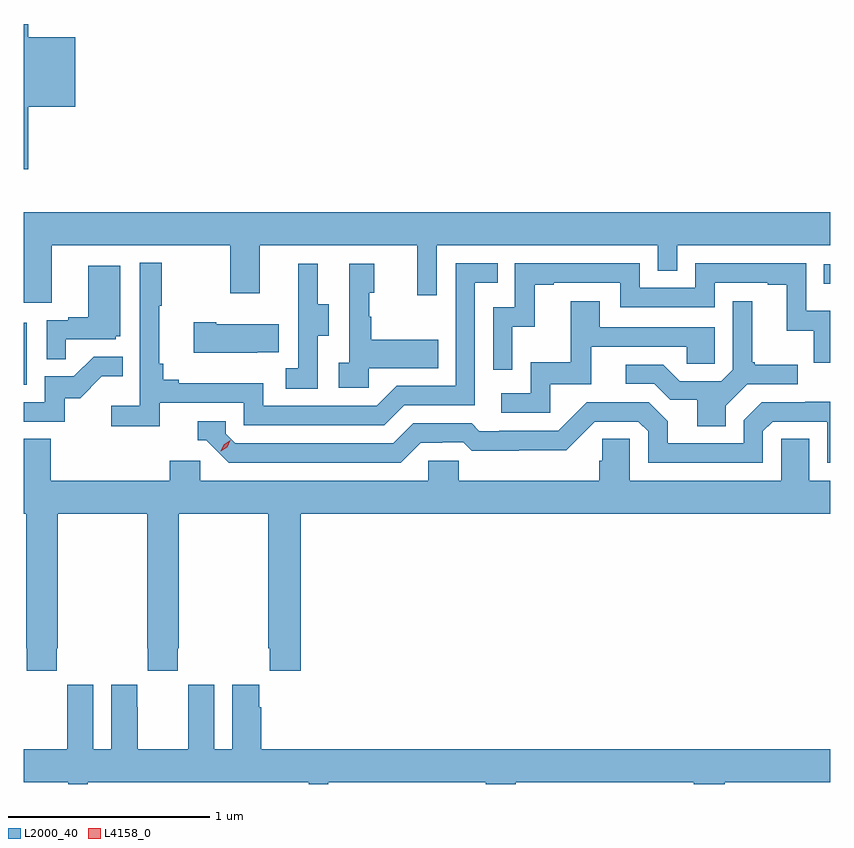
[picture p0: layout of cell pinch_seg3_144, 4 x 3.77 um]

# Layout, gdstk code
import gdstk
lib = gdstk.Library(unit=1e-6, precision=1e-09)
def R(c, l, rs):  # rectangles x0, y0, x1, y1
    for r in rs: c.add(gdstk.rectangle(r[:2], r[2:], *l))
def P(c, l, *ps):  # polygons
    for p in ps: c.add(gdstk.Polygon(p, *l))
L2000_40 = (2000, 40)
L4158_0 = (4158, 0)

pinch_seg3_144 = lib.new_cell('pinch_seg3_144')
R(pinch_seg3_144, L2000_40, [(1107.858,720.204,1107.874,720.511), (1111.825,720.704,1111.858,720.801)])
P(pinch_seg3_144, L2000_40, [(1107.88,721.583),(1108.114,721.583),(1108.114,721.927),(1107.88,721.927),(1107.88,721.993),(1107.858,721.993),(1107.858,721.272),(1107.88,721.272)],
  [(1107.858,720.61),(1107.997,720.61),(1107.997,720.896),(1108.882,720.896),(1108.882,720.657),(1109.029,720.657),(1109.029,720.896),(1109.81,720.896),(1109.81,720.648),(1109.907,720.648),(1109.907,720.896),(1111.002,720.896),(1111.002,720.769),(1111.098,720.769),(1111.098,720.896),(1111.858,720.896),(1111.858,721.06),(1107.858,721.06)],
  [(1108.532,720.114),(1108.95,720.114),(1108.95,720.003),(1109.647,720.003),(1109.746,720.102),(1110.096,720.102),(1110.096,720.711),(1110.209,720.711),(1110.209,720.807),(1110,720.807),(1110,720.198),(1109.709,720.198),(1109.61,720.099),(1109.046,720.099),(1109.046,720.211),(1108.627,720.211),(1108.627,720.23),(1108.55,720.23),(1108.55,720.307),(1108.531,720.307),(1108.531,720.595),(1108.543,720.595),(1108.543,720.808),(1108.434,720.808),(1108.434,720.1),(1108.293,720.1),(1108.293,719.998),(1108.532,719.998)],
  [(1110.282,720.491),(1110.392,720.491),(1110.392,720.699),(1110.487,720.699),(1110.487,720.711),(1110.816,720.711),(1110.816,720.588),(1111.284,720.588),(1111.284,720.711),(1111.547,720.711),(1111.547,720.699),(1111.643,720.699),(1111.643,720.473),(1111.776,720.473),(1111.776,720.312),(1111.858,720.312),(1111.858,720.571),(1111.74,720.571),(1111.74,720.807),(1111.188,720.807),(1111.188,720.684),(1110.912,720.684),(1110.912,720.807),(1110.294,720.807),(1110.294,720.588),(1110.186,720.588),(1110.186,720.279),(1110.282,720.279)],
  [(1109.316,720.448),(1109.371,720.448),(1109.371,720.603),(1109.317,720.603),(1109.317,720.805),(1109.219,720.805),(1109.219,720.591),(1109.22,720.591),(1109.22,720.287),(1109.157,720.287),(1109.157,720.184),(1109.316,720.184)],
  [(1109.568,720.287),(1109.915,720.287),(1109.915,720.427),(1109.581,720.427),(1109.581,720.542),(1109.571,720.542),(1109.571,720.66),(1109.596,720.66),(1109.596,720.805),(1109.472,720.805),(1109.472,720.314),(1109.421,720.314),(1109.421,720.189),(1109.568,720.189)],
  [(1108.067,720.429),(1108.314,720.429),(1108.314,720.444),(1108.336,720.444),(1108.336,720.793),(1108.178,720.793),(1108.178,720.538),(1108.079,720.538),(1108.079,720.525),(1107.972,720.525),(1107.972,720.331),(1108.067,720.331)],
  [(1111.339,720.1),(1111.446,720.207),(1111.696,720.207),(1111.696,720.304),(1111.483,720.304),(1111.483,720.316),(1111.471,720.316),(1111.471,720.619),(1111.374,720.619),(1111.374,720.279),(1111.317,720.222),(1111.111,720.222),(1111.03,720.303),(1110.843,720.303),(1110.843,720.21),(1110.984,720.21),(1111.064,720.13),(1111.199,720.13),(1111.199,719.998),(1111.339,719.998)],
  [(1110.468,720.207),(1110.673,720.207),(1110.673,720.393),(1111.147,720.393),(1111.147,720.309),(1111.284,720.309),(1111.284,720.489),(1110.715,720.489),(1110.715,720.619),(1110.571,720.619),(1110.571,720.316),(1110.372,720.316),(1110.372,720.162),(1110.225,720.162),(1110.225,720.066),(1110.468,720.066)],
  [(1109.015,720.365),(1109.123,720.365),(1109.123,720.505),(1108.813,720.505),(1108.813,720.513),(1108.701,720.513),(1108.701,720.362),(1109.015,720.362)],
  [(1108.062,720.138),(1108.138,720.138),(1108.245,720.245),(1108.349,720.245),(1108.349,720.344),(1108.205,720.344),(1108.107,720.246),(1107.963,720.246),(1107.963,720.117),(1107.858,720.117),(1107.858,720.021),(1108.062,720.021)],
  [(1109.827,719.916),(1109.934,719.916),(1109.934,719.919),(1110.037,719.919),(1110.079,719.877),(1110.312,719.877),(1110.312,719.879),(1110.548,719.879),(1110.69,720.021),(1110.906,720.021),(1110.954,719.973),(1110.954,719.817),(1111.524,719.817),(1111.524,719.973),(1111.572,720.021),(1111.842,720.021),(1111.842,719.817),(1111.858,719.817),(1111.858,720.119),(1111.734,720.119),(1111.734,720.117),(1111.518,720.117),(1111.428,720.027),(1111.428,719.913),(1111.051,719.913),(1111.051,720.023),(1110.957,720.117),(1110.651,720.117),(1110.51,719.976),(1110.217,719.976),(1110.217,719.973),(1110.118,719.973),(1110.079,720.012),(1109.79,720.012),(1109.691,719.913),(1108.908,719.913),(1108.86,719.961),(1108.86,720.024),(1108.721,720.024),(1108.721,719.928),(1108.764,719.928),(1108.875,719.817),(1109.728,719.817)],
  [(1108.023,718.897),(1108.026,718.897),(1108.026,719.564),(1108.471,719.564),(1108.471,718.897),(1108.473,718.897),(1108.473,718.785),(1108.623,718.785),(1108.623,718.897),(1108.626,718.897),(1108.626,719.564),(1109.071,719.564),(1109.071,718.897),(1109.077,718.897),(1109.077,718.785),(1109.231,718.785),(1109.231,719.564),(1111.858,719.564),(1111.858,719.728),(1111.753,719.728),(1111.753,719.936),(1111.614,719.936),(1111.614,719.728),(1110.864,719.728),(1110.864,719.936),(1110.727,719.936),(1110.727,719.826),(1110.713,719.826),(1110.713,719.728),(1110.015,719.728),(1110.015,719.826),(1109.865,719.826),(1109.865,719.728),(1108.734,719.728),(1108.734,719.826),(1108.583,719.826),(1108.583,719.728),(1107.992,719.728),(1107.992,719.936),(1107.858,719.936),(1107.858,719.564),(1107.871,719.564),(1107.871,718.897),(1107.873,718.897),(1107.873,718.785),(1108.023,718.785)],
  [(1108.176,718.232),(1109.271,718.232),(1109.271,718.224),(1109.369,718.224),(1109.369,718.232),(1110.149,718.232),(1110.149,718.224),(1110.297,718.224),(1110.297,718.232),(1111.181,718.232),(1111.181,718.224),(1111.334,718.224),(1111.334,718.232),(1111.858,718.232),(1111.858,718.396),(1109.036,718.396),(1109.036,718.604),(1109.026,718.604),(1109.026,718.717),(1108.892,718.717),(1108.892,718.396),(1108.804,718.396),(1108.804,718.717),(1108.674,718.717),(1108.674,718.604),(1108.673,718.604),(1108.673,718.396),(1108.423,718.396),(1108.423,718.604),(1108.422,718.604),(1108.422,718.717),(1108.292,718.717),(1108.292,718.396),(1108.204,718.396),(1108.204,718.717),(1108.074,718.717),(1108.074,718.604),(1108.073,718.604),(1108.073,718.396),(1107.858,718.396),(1107.858,718.232),(1108.08,718.232),(1108.08,718.224),(1108.176,718.224)])
P(pinch_seg3_144, L4158_0, [(1108.836,719.875),(1108.836,719.876),(1108.852,719.908),(1108.883,719.928),(1108.883,719.928),(1108.883,719.928),(1108.867,719.895),(1108.836,719.875)])

lib.write_gds('pinch_seg3_144.gds')
